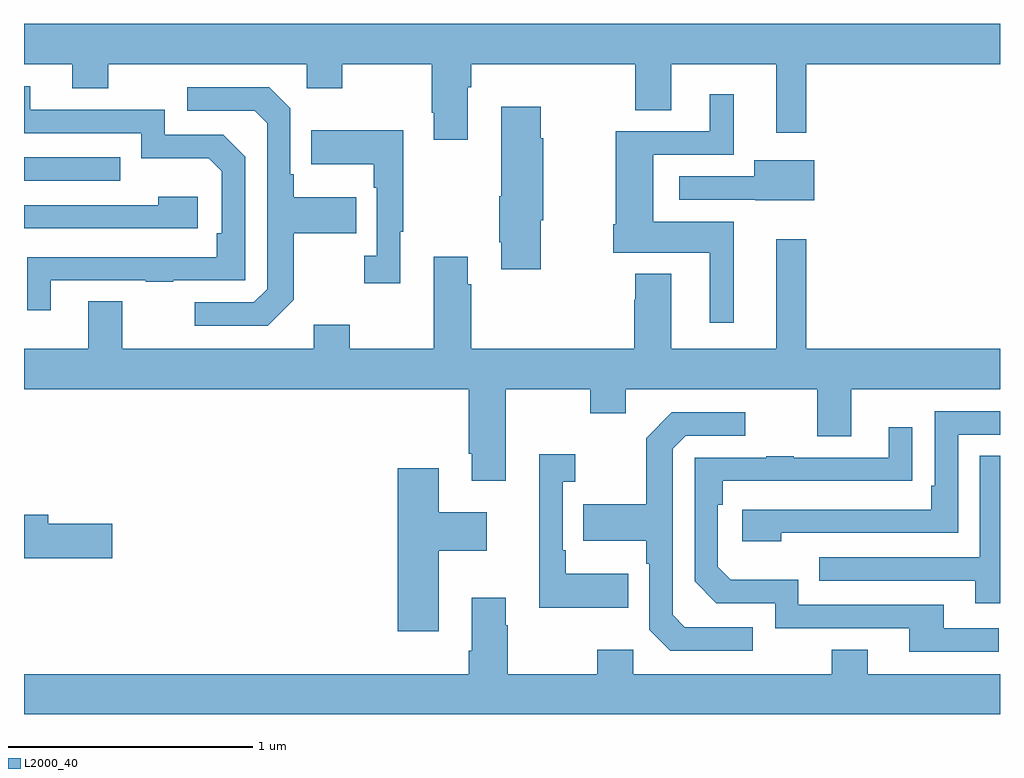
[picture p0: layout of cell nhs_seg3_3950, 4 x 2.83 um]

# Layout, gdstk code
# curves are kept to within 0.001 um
import gdstk
lib = gdstk.Library(unit=1e-6, precision=1e-09)
def R(c, l, rs):  # rectangles x0, y0, x1, y1
    for r in rs: c.add(gdstk.rectangle(r[:2], r[2:], *l))
def P(c, l, *ps):  # polygons
    for p in ps: c.add(gdstk.Polygon(p, *l))
L2000_40 = (2000, 40)

nhs_seg3_3950 = lib.new_cell('nhs_seg3_3950')
R(nhs_seg3_3950, L2000_40, [(315,739.065,315.395,739.161)])
P(nhs_seg3_3950, L2000_40, [(315,739.544),(315.197,739.544),(315.197,739.445),(315.345,739.445),(315.345,739.544),(316.158,739.544),(316.158,739.445),(316.305,739.445),(316.305,739.544),(316.672,739.544),(316.672,739.345),(316.679,739.345),(316.679,739.233),(316.819,739.233),(316.819,739.448),(316.832,739.448),(316.832,739.544),(317.506,739.544),(317.506,739.354),(317.653,739.354),(317.653,739.544),(318.083,739.544),(318.083,739.263),(318.205,739.263),(318.205,739.544),(319,739.544),(319,739.708),(315,739.708)],
  [(315.109,738.657),(315.499,738.657),(315.499,738.652),(315.611,738.652),(315.611,738.657),(315.906,738.657),(315.906,739.164),(315.816,739.254),(315.576,739.254),(315.576,739.356),(315.025,739.356),(315.025,739.452),(315,739.452),(315,739.26),(315.48,739.26),(315.48,739.157),(315.757,739.157),(315.81,739.104),(315.81,738.85),(315.79,738.85),(315.79,738.753),(315.013,738.752),(315.013,738.534),(315.109,738.534)],
  [(316.105,738.577),(316.105,738.85),(316.361,738.85),(316.361,738.997),(316.105,738.997),(316.105,739.093),(316.092,739.093),(316.092,739.362),(316.005,739.449),(315.669,739.449),(315.669,739.353),(315.945,739.353),(315.996,739.302),(315.996,738.621),(315.942,738.567),(315.699,738.567),(315.699,738.471),(315.999,738.471)],
  [(317.908,738.898),(317.578,738.898),(317.578,739.173),(317.908,739.173),(317.908,739.42),(317.81,739.42),(317.81,739.269),(317.425,739.269),(317.425,738.888),(317.414,738.888),(317.414,738.77),(317.81,738.77),(317.81,738.483),(317.908,738.483)],
  [(317.118,738.903),(317.128,738.903),(317.128,739.239),(317.118,739.239),(317.118,739.369),(316.955,739.369),(316.955,739.003),(316.948,739.003),(316.948,738.814),(316.955,738.814),(316.955,738.702),(317.118,738.702)],
  [(316.543,738.857),(316.555,738.857),(316.555,739.273),(316.177,739.273),(316.177,739.133),(316.434,739.133),(316.434,739.037),(316.446,739.037),(316.446,738.758),(316.395,738.758),(316.395,738.645),(316.543,738.645)],
  [(318.238,739.15),(317.993,739.15),(317.993,739.083),(317.685,739.083),(317.685,738.987),(317.997,738.987),(317.997,738.986),(318.238,738.986)],
  [(315.712,739),(315.551,739),(315.551,738.966),(315,738.966),(315,738.87),(315.712,738.87)],
  [(316.975,738.212),(317.32,738.212),(317.32,738.113),(317.467,738.113),(317.467,738.212),(318.251,738.212),(318.251,738.018),(318.391,738.018),(318.391,738.212),(319,738.212),(319,738.376),(318.205,738.376),(318.205,738.826),(318.083,738.826),(318.083,738.376),(317.653,738.376),(317.653,738.685),(317.506,738.685),(317.506,738.578),(317.501,738.578),(317.501,738.376),(316.832,738.376),(316.832,738.641),(316.819,738.641),(316.819,738.754),(316.679,738.754),(316.679,738.376),(316.335,738.376),(316.335,738.475),(316.187,738.475),(316.187,738.376),(315.403,738.376),(315.403,738.571),(315.263,738.571),(315.263,738.376),(315,738.376),(315,738.212),(316.823,738.212),(316.823,737.947),(316.835,737.947),(316.835,737.835),(316.975,737.835)],
  [(318.104,737.622),(318.828,737.622),(318.828,738.024),(319,738.024),(319,738.12),(318.732,738.12),(318.732,737.815),(318.719,737.815),(318.719,737.718),(317.943,737.718),(317.943,737.588),(318.104,737.588)],
  [(317.986,737.235),(317.709,737.235),(317.658,737.286),(317.658,737.967),(317.712,738.021),(317.956,738.021),(317.956,738.117),(317.655,738.117),(317.55,738.011),(317.55,737.739),(317.293,737.739),(317.293,737.591),(317.55,737.591),(317.55,737.495),(317.562,737.495),(317.562,737.226),(317.649,737.139),(317.986,737.139)],
  [(318.994,737.232),(318.769,737.232),(318.769,737.328),(318.174,737.328),(318.174,737.431),(317.897,737.431),(317.844,737.484),(317.844,737.738),(317.864,737.738),(317.864,737.835),(318.641,737.836),(318.641,738.055),(318.545,738.055),(318.545,737.931),(318.155,737.931),(318.155,737.936),(318.043,737.936),(318.043,737.931),(317.748,737.931),(317.748,737.424),(317.838,737.334),(318.078,737.334),(318.078,737.232),(318.629,737.232),(318.629,737.136),(318.994,737.136)],
  [(317.477,737.455),(317.221,737.455),(317.221,737.551),(317.208,737.551),(317.208,737.831),(317.26,737.831),(317.26,737.944),(317.111,737.944),(317.111,737.315),(317.477,737.315)],
  [(319,737.939),(318.918,737.939),(318.918,737.523),(318.259,737.523),(318.259,737.427),(318.899,737.427),(318.899,737.333),(319,737.333)],
  [(316.699,737.549),(316.897,737.549),(316.897,737.707),(316.699,737.707),(316.699,737.887),(316.532,737.887),(316.532,737.22),(316.699,737.22)],
  [(315.361,737.66),(315.1,737.66),(315.1,737.696),(315,737.696),(315,737.518),(315.361,737.518)],
  [(319,737.044),(318.457,737.044),(318.457,737.143),(318.31,737.143),(318.31,737.044),(317.496,737.044),(317.496,737.143),(317.35,737.143),(317.35,737.044),(316.983,737.044),(316.983,737.243),(316.975,737.243),(316.975,737.356),(316.835,737.356),(316.835,737.14),(316.823,737.14),(316.823,737.044),(315,737.044),(315,736.88),(319,736.88)])

lib.write_gds('nhs_seg3_3950.gds')
